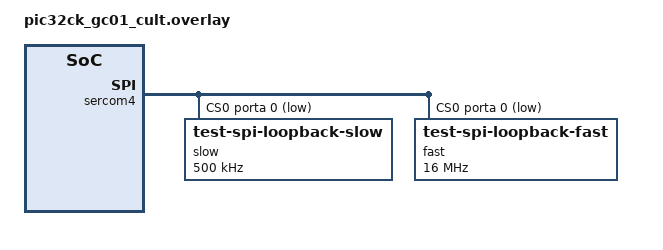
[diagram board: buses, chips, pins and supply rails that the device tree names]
/*
 * SPDX-FileCopyrightText: Copyright (c) 2026 Microchip Technology Inc.
 *
 * SPDX-License-Identifier: Apache-2.0
 */

&porta {
	status = "okay";
};

&sercom4 {
	/* Internal loopback */
	compatible = "microchip,sercom-g1-spi";
	dipo = <0>;
	dopo = <0>;
	#address-cells = <1>;
	#size-cells = <0>;
	pinctrl-0 = <&sercom4_spi_default>;
	pinctrl-names = "default";
	cs-gpios = <&porta 0 GPIO_ACTIVE_LOW>;
	status = "okay";

	slow@0 {
		compatible = "test-spi-loopback-slow";
		reg = <0>;
		spi-max-frequency = <500000>;
	};

	fast@0 {
		compatible = "test-spi-loopback-fast";
		reg = <0>;
		spi-max-frequency = <16000000>;
	};
};

&pinctrl {
	sercom4_spi_default: sercom4_spi_default {
		group1 {
			pinmux = <PB9C_SERCOM4_PAD0>,
				 <PB6C_SERCOM4_PAD3>,
				 <PB13C_SERCOM4_PAD2>,
				 <PB10C_SERCOM4_PAD1>;
		};
	};
};
